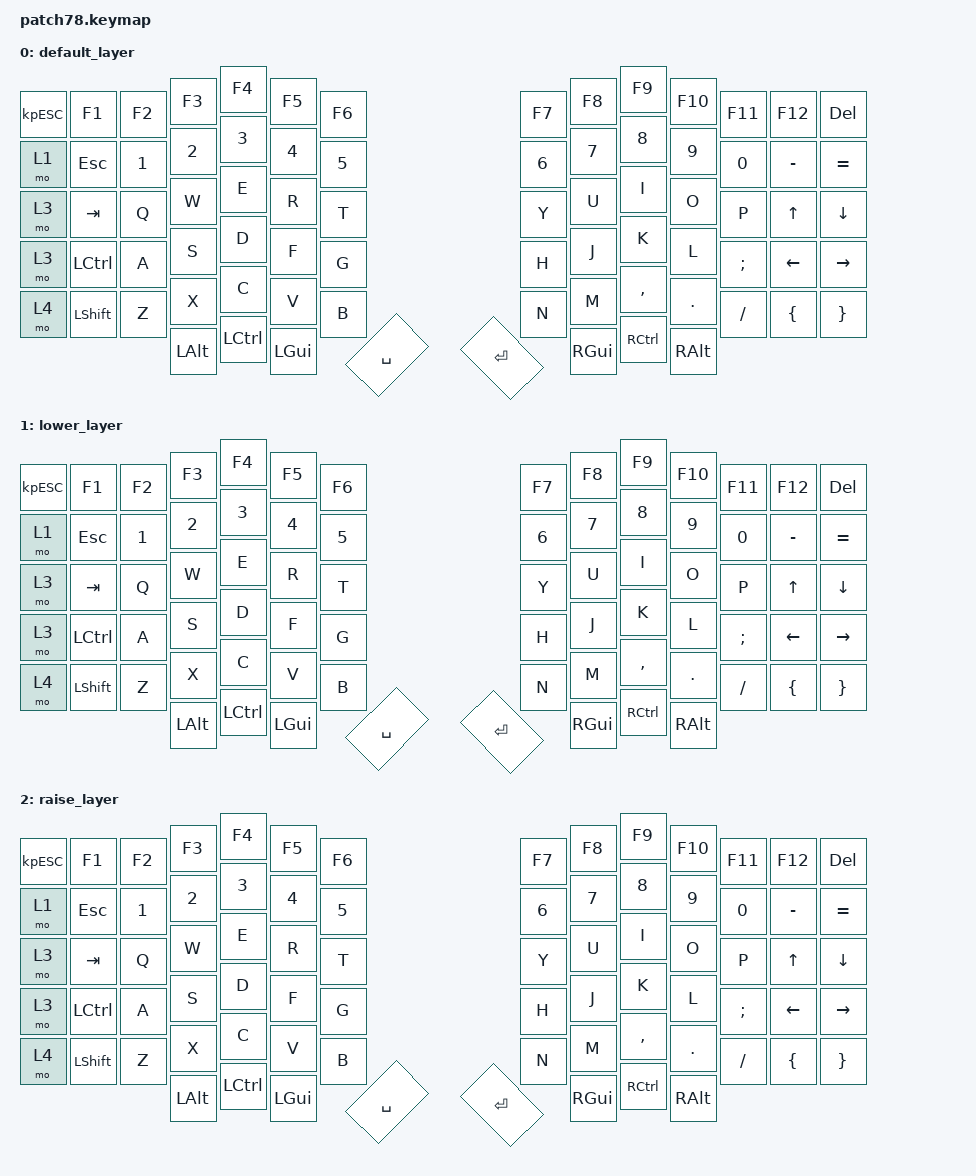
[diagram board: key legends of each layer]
/*
 * Copyright (c) 2025 The ZMK Contributors
 *
 * SPDX-License-Identifier: MIT
 */

 #include <behaviors.dtsi>
 #include <dt-bindings/zmk/keys.h>
 #include <dt-bindings/zmk/bt.h>
 #include <dt-bindings/zmk/rgb.h>
 #include <dt-bindings/zmk/ext_power.h>
 #include <dt-bindings/zmk/outputs.h>

 #define DEFAULT 0
 #define LOWER  1
 #define RAISE  2

/ {
       keymap {
              compatible = "zmk,keymap";

              default_layer {
// ------------------------------------------------------------------------------------------------------------
// |  ESC    |  F1   |  F2 |  F3 |  F4  |  F5  |  F6    |  |  F7   |  F8   |  F9   |  F10 |  F11  |  F12  |  DEL |
// |  TAB    |  PGUP |  1  |  2  |  3   |  4   |  5     |  |  6    |  7    |  8    |  9   |   0   |   -   |  =   |
// |  RAISE  |  PGDN |  Q  |  W  |  E   |  R   |  T     |  |  Y    |  U    |  I    |  O   |   P   |   ^   |  v   |
// |  LOWER  |  HOME |  A  |  S  |  D   |  F   |  G     |  |  H    |  J    |  K    |  L   |   ;   |   <-  |  ->  |
// |   FN    | SHIFT |  Z  |  X  |  C   |  V   |  B     |  |  N    |  M    |  ,    |  .   |   /   | {     |   }  |
//                         | ALT | CTRL | GUI  |  SPACE |  | ENTER |   GUI |  CTRL | ALT  |
            bindings = <
&kpESC &kp F1    &kp F2 &kp F3   &kp F4    &kp F5    &kp F6     &kp F7   &kp F8    &kp F9    &kp F10  &kp F11  &kp F12    &kp DEL
&mo 1  &kp ESC   &kp N1 &kp N2   &kp N3    &kp N4    &kp N5     &kp N6   &kp N7    &kp N8    &kp N9   &kp N0   &kp MINUS  &kp EQUAL
&mo 3  &kp TAB   &kp Q  &kp W    &kp E     &kp R     &kp T      &kp Y    &kp U     &kp I     &kp O    &kp P    &kp UP     &kp DOWN
&mo 3  &kp LCTRL &kp A  &kp S    &kp D     &kp F     &kp G      &kp H    &kp J     &kp K     &kp L    &kp SEMI &kp LEFT   &kp RIGHT
&mo 4  &kp LSHFT &kp Z  &kp X    &kp C     &kp V     &kp B      &kp N    &kp M     &kp COMMA &kp DOT  &kp FSLH &kp LBRC   &kp RBRC
                        &kp LALT &kp LCTRL &kp LGUI  &kp SPACE  &kp RET  &kp RGUI  &kp RCTRL &kp RALT
                     >;
              };
              lower_layer {
// ------------------------------------------------------------------------------------------------------------
// |  ESC    |  F1   |  F2 |  F3 |  F4  |  F5  |  F6    |  |  F7   |  F8   |  F9   |  F10 |  F11  |  F12  |  DEL |
// |  TAB    |  PGUP |  1  |  2  |  3   |  4   |  5     |  |  6    |  7    |  8    |  9   |   0   |   -   |  =   |
// |  RAISE  |  PGDN |  Q  |  W  |  E   |  R   |  T     |  |  Y    |  U    |  I    |  O   |   P   |   ^   |  v   |
// |  LOWER  |  HOME |  A  |  S  |  D   |  F   |  G     |  |  H    |  J    |  K    |  L   |   ;   |   <-  |  ->  |
// |   FN    | SHIFT |  Z  |  X  |  C   |  V   |  B     |  |  N    |  M    |  ,    |  .   |   /   | {     |   }  |
//                         | ALT | CTRL | GUI  |  SPACE |  | ENTER |   GUI |  CTRL | ALT  |
            bindings = <
&kpESC &kp F1    &kp F2 &kp F3   &kp F4    &kp F5    &kp F6     &kp F7   &kp F8    &kp F9    &kp F10  &kp F11  &kp F12    &kp DEL
&mo 1  &kp ESC   &kp N1 &kp N2   &kp N3    &kp N4    &kp N5     &kp N6   &kp N7    &kp N8    &kp N9   &kp N0   &kp MINUS  &kp EQUAL
&mo 3  &kp TAB   &kp Q  &kp W    &kp E     &kp R     &kp T      &kp Y    &kp U     &kp I     &kp O    &kp P    &kp UP     &kp DOWN
&mo 3  &kp LCTRL &kp A  &kp S    &kp D     &kp F     &kp G      &kp H    &kp J     &kp K     &kp L    &kp SEMI &kp LEFT   &kp RIGHT
&mo 4  &kp LSHFT &kp Z  &kp X    &kp C     &kp V     &kp B      &kp N    &kp M     &kp COMMA &kp DOT  &kp FSLH &kp LBRC   &kp RBRC
                        &kp LALT &kp LCTRL &kp LGUI  &kp SPACE  &kp RET  &kp RGUI  &kp RCTRL &kp RALT
                     >;
              };
              raise_layer {
// ------------------------------------------------------------------------------------------------------------
// |  ESC    |  F1   |  F2 |  F3 |  F4  |  F5  |  F6    |  |  F7   |  F8   |  F9   |  F10 |  F11  |  F12  |  DEL |
// |  TAB    |  PGUP |  1  |  2  |  3   |  4   |  5     |  |  6    |  7    |  8    |  9   |   0   |   -   |  =   |
// |  RAISE  |  PGDN |  Q  |  W  |  E   |  R   |  T     |  |  Y    |  U    |  I    |  O   |   P   |   ^   |  v   |
// |  LOWER  |  HOME |  A  |  S  |  D   |  F   |  G     |  |  H    |  J    |  K    |  L   |   ;   |   <-  |  ->  |
// |   FN    | SHIFT |  Z  |  X  |  C   |  V   |  B     |  |  N    |  M    |  ,    |  .   |   /   | {     |   }  |
//                         | ALT | CTRL | GUI  |  SPACE |  | ENTER |   GUI |  CTRL | ALT  |
            bindings = <
&kpESC &kp F1    &kp F2 &kp F3   &kp F4    &kp F5    &kp F6     &kp F7   &kp F8    &kp F9    &kp F10  &kp F11  &kp F12    &kp DEL
&mo 1  &kp ESC   &kp N1 &kp N2   &kp N3    &kp N4    &kp N5     &kp N6   &kp N7    &kp N8    &kp N9   &kp N0   &kp MINUS  &kp EQUAL
&mo 3  &kp TAB   &kp Q  &kp W    &kp E     &kp R     &kp T      &kp Y    &kp U     &kp I     &kp O    &kp P    &kp UP     &kp DOWN
&mo 3  &kp LCTRL &kp A  &kp S    &kp D     &kp F     &kp G      &kp H    &kp J     &kp K     &kp L    &kp SEMI &kp LEFT   &kp RIGHT
&mo 4  &kp LSHFT &kp Z  &kp X    &kp C     &kp V     &kp B      &kp N    &kp M     &kp COMMA &kp DOT  &kp FSLH &kp LBRC   &kp RBRC
                        &kp LALT &kp LCTRL &kp LGUI  &kp SPACE  &kp RET  &kp RGUI  &kp RCTRL &kp RALT
                     >;
              };
       };
};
